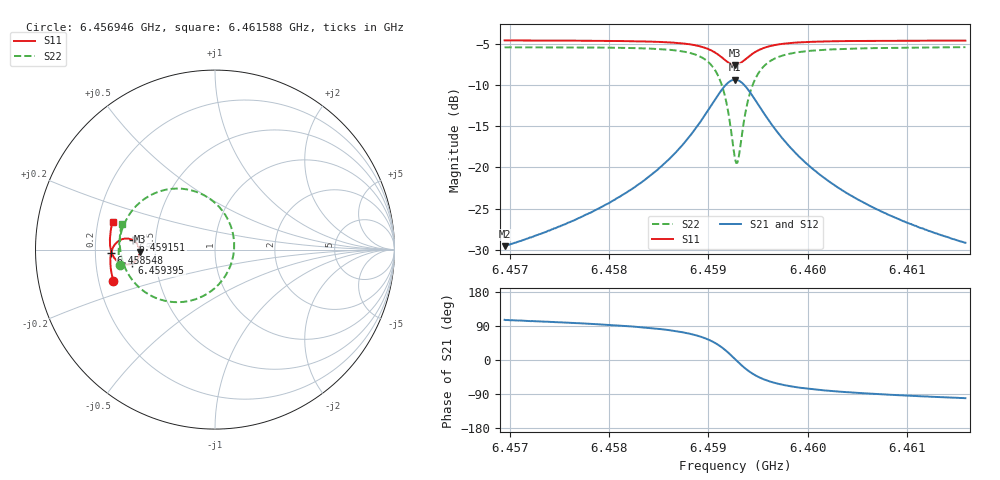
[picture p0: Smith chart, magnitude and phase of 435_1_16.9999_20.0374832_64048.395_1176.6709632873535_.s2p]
#  HZ  S  RI  R  50.00
! Rohde & Schwarz Vector Network Analyzer
! Rohde-Schwarz,ZNB20-2Port,1311601062101988,3.16
! Created: UTC 3/20/2024, 11:11:36 PM
! freq[Hz]  re:S11  im:S11  re:S21  im:S21  re:S12  im:S12  re:S22  im:S22
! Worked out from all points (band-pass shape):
!   401 points, 6.456946 GHz to 6.461588 GHz, reference 50 ohm
!   highest |S21| = -9.32 dB at 6.459267 GHz (marker M1); lowest = -29.6 dB at 6.456946 GHz (marker M2)
!   |S21| within 3 dB of the highest: 6.459035 GHz to 6.459499 GHz (464.4 kHz wide, 0.00719 % of centre)
!   lowest |S11| = -7.5 dB at 6.459267 GHz (marker M3), VSWR 2.45, Z = 20.4 - j0.528 ohm
!   |S11| at or under -10 dB: nowhere
!   |S22| runs from -19.5 to -5.4 dB; largest |S21 - S12| = 0.013
!   S11 on the Smith chart (normalised r, x): 6.456946 GHz: 0.26, -0.14; 6.458548 GHz: 0.27, -0.01; 6.459151 GHz: 0.37, +0.05; 6.459395 GHz: 0.37, -0.07; 6.461588 GHz: 0.26, +0.12
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6.4569461e9  -0.5659 -0.1743  -0.00918 0.0319  -0.00721 0.032  -0.5304 -0.0874
6.4577236e9  -0.5805 -0.1066  -0.00569 0.0499  -0.00329 0.0493  -0.5365 0.00273
6.4581646e9  -0.5834 -0.0625  0.000326 0.0697  0.00361 0.0684  -0.5284 0.0721
6.4585012e9  -0.5798 -0.0225  0.0136 0.0979  0.0177 0.095  -0.504 0.1476
6.4585476e9  -0.5784 -0.0162  0.017 0.1031  0.021 0.1002  -0.4977 0.1606
6.4587565e9  -0.5663 0.0156  0.0428 0.1346  0.047 0.1299  -0.4496 0.232
6.4589074e9  -0.5452 0.0417  0.0852 0.1647  0.0884 0.1582  -0.3717 0.2959
6.4590582e9  -0.4996 0.0614  0.1762 0.1837  0.1771 0.1764  -0.2053 0.34
6.4591511e9  -0.4553 0.0515  0.2651 0.1529  0.2654 0.1472  -0.0405 0.2909
6.4591975e9  -0.4345 0.033  0.3085 0.1107  0.3097 0.1055  0.0419 0.2156
6.4592671e9  -0.4197 -0.0106  0.3416 0.0148  0.3453 0.00803  0.1067 0.038
6.4592787e9  -0.4202 -0.0185  0.3416 -0.00271  0.3452 -0.0102  0.1064 0.00469
6.4593019e9  -0.4236 -0.0341  0.3362 -0.0372  0.3398 -0.0461  0.0958 -0.0605
6.4593484e9  -0.439 -0.0598  0.3081 -0.0965  0.3102 -0.108  0.0392 -0.1723
6.4593948e9  -0.4608 -0.0759  0.2666 -0.1371  0.2658 -0.1502  -0.0447 -0.2469
6.4594876e9  -0.5037 -0.0826  0.1826 -0.1682  0.1767 -0.1796  -0.2116 -0.293
6.4596385e9  -0.5472 -0.0622  0.0956 -0.1547  0.0873 -0.1608  -0.3777 -0.2447
6.459801e9  -0.5686 -0.0345  0.051 -0.1272  0.0436 -0.13  -0.4575 -0.1735
6.4600447e9  -0.581 0.000916  0.0222 -0.0961  0.0164 -0.0967  -0.5052 -0.0917
6.4603928e9  -0.5856 0.0422  0.00622 -0.0695  0.00229 -0.0692  -0.5266 -0.0132
6.4608222e9  -0.5835 0.0851  -0.00149 -0.0513  -0.00408 -0.0505  -0.5308 0.0549
6.4615882e9  -0.5711 0.1527  -0.00646 -0.0342  -0.00819 -0.0332  -0.5193 0.1447
